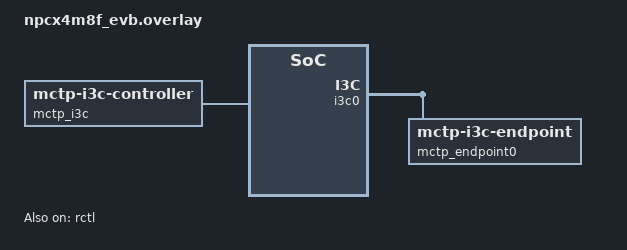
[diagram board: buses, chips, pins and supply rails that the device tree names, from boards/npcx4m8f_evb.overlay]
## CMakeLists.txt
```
# SPDX-FileCopyrightText: Copyright The Zephyr Project Contributors
# SPDX-License-Identifier: Apache-2.0
cmake_minimum_required(VERSION 3.20.0)

find_package(Zephyr REQUIRED HINTS $ENV{ZEPHYR_BASE})
project(spdm_requester_i3c)

target_sources(app PRIVATE
  src/main.c
  ${CMAKE_CURRENT_LIST_DIR}/../common/sample_ecp256.c
  ${CMAKE_CURRENT_LIST_DIR}/../common/sample_app_message.c
)
target_include_directories(app PRIVATE ${CMAKE_CURRENT_LIST_DIR}/../common)
```

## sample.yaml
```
# SPDX-FileCopyrightText: Copyright The Zephyr Project Contributors
# SPDX-License-Identifier: Apache-2.0
sample:
  description: libspdm SPDM requester over MCTP on I3C
  name: libspdm requester I3C
tests:
  sample.lib.libspdm.requester_i3c.build:
    build_only: true
    tags: libspdm i3c mctp
    platform_allow: npcx4m8f_evb
    integration_platforms:
      - npcx4m8f_evb
```

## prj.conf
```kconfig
# SPDX-FileCopyrightText: Copyright The Zephyr Project Contributors
# SPDX-License-Identifier: Apache-2.0

# libspdm: requester only, MCTP transport + libmctp bridge.
CONFIG_LIBSPDM=y
CONFIG_LIBSPDM_REQUESTER=y
CONFIG_LIBSPDM_RESPONDER=n
CONFIG_LIBSPDM_CRYPTO_MBEDTLS=y
CONFIG_LIBSPDM_TRANSPORT_MCTP=y
CONFIG_LIBSPDM_TRANSPORT_MCTP_LIBMCTP_BRIDGE=y
CONFIG_LIBSPDM_SECRET_LIB_SAMPLE=y
# Disable libspdm's internal hex-dump prints. The flow is now stable;
# every byte of every SPDM message logged over serial dominates the
# round-trip time on the I3C link (and overflows the log subsystem
# buffer). The application-level LOG_INF calls still trace each phase.
CONFIG_LIBSPDM_DEBUG_ENABLE=n

# Sized for GET_CERTIFICATE with a ~1.5 KiB ECDSA-P256 chain
# (libspdm caps at LIBSPDM_MAX_CERT_CHAIN_SIZE=0x800).
CONFIG_LIBSPDM_MCTP_BUFFER_SIZE=2048
CONFIG_LIBSPDM_MCTP_RX_QUEUE_DEPTH=1

# Zephyr libmctp + I3C controller binding.
CONFIG_I3C=y
CONFIG_MCTP=y
CONFIG_MCTP_I3C_CONTROLLER=y

# A full SPDM_CERTIFICATE response (cert chain plus spdm_cert_chain_t
# header) is ~1.4 KiB, so the default 1 KiB libmctp reassembly cap is
# too small for the inbound message. Size both message and heap to
# comfortably hold our worst-case 2 KiB transfer.
CONFIG_MCTP_MAX_MESSAGE_SIZE=2048
CONFIG_MCTP_HEAP_SIZE=6144

# RNG: npcx4 has no hardware DRBG; see responder prj.conf for details.
CONFIG_TEST_RANDOM_GENERATOR=y

# libspdm context + scratch + send/receive buffers + mbedtls transient
# mallocs (X.509 parse + ECDSA verify).
CONFIG_MAIN_STACK_SIZE=4096
CONFIG_HEAP_MEM_POOL_SIZE=8192
CONFIG_COMMON_LIBC_MALLOC=y
CONFIG_COMMON_LIBC_MALLOC_ARENA_SIZE=16384

# Logging
CONFIG_LOG=y
CONFIG_LOG_BUFFER_SIZE=4096
CONFIG_PRINTK=y
```

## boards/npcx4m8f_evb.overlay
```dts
/*
 * SPDX-FileCopyrightText: Copyright The Zephyr Project Contributors
 * SPDX-License-Identifier: Apache-2.0
 *
 * I3C controller-side overlay for the libspdm SPDM requester sample
 * on the Nuvoton NPCX4M8F EVB. Mirrors the wiring used by the
 * upstream samples/subsys/pmci/mctp/i3c_bus_host overlay for the same
 * board: I3C SDA on J18.20, SCL on J18.19. The MCTP endpoint matches
 * the spdm_responder_i3c sample's target PID 0x000020a/0x00000011 and
 * MCTP EID 11.
 */

&rctl {
	status = "okay";
};

&i3c0 {
	status = "okay";
	i3c-scl-hz = <7500000>;
	i3c-od-scl-hz = <1500000>;

	bcr = <0x67>;

	mctp_endpoint0: mctp_endpoint0@20a00000011 {
		compatible = "zephyr,mctp-i3c-endpoint";
		reg = <0x0000 0x020a 0x00000011>;
		status = "okay";
	};
};

&pcc {
	clock-frequency = <DT_FREQ_M(90)>;
	core-prescaler = <3>;
	apb1-prescaler = <6>;
	apb2-prescaler = <6>;
	apb3-prescaler = <6>;
	apb4-prescaler = <3>;
};

/ {
	mctp_i3c: mctp_i3c {
		compatible = "zephyr,mctp-i3c-controller";
		endpoints = <&mctp_endpoint0>;
		endpoint-ids = <11>;
	};
};
```

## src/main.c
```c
/*
 * SPDX-FileCopyrightText: Copyright The Zephyr Project Contributors
 * SPDX-License-Identifier: Apache-2.0
 *
 * SPDM requester sample over MCTP-on-I3C.
 *
 * This sample assumes a peer SPDM responder is reachable at MCTP EID
 * PEER_EID on the I3C bus described by the board overlay. It runs the
 * first three steps of the SPDM 1.2 handshake (GET_VERSION,
 * GET_CAPABILITIES, NEGOTIATE_ALGORITHMS) and prints a single PASSED /
 * FAIL line. Extending the demo to GET_DIGESTS / GET_CERTIFICATE /
 * CHALLENGE_AUTH / GET_MEASUREMENTS is a matter of switching to
 * CONFIG_LIBSPDM_CRYPTO_MBEDTLS=y and registering an embedded
 * certificate chain via libspdm_zephyr_secret_blob_register().
 *
 * Pair this sample with samples/spdm_responder_i3c flashed onto a
 * second board on the same I3C bus.
 */

#include <stdint.h>
#include <stdlib.h>
#include <string.h>

#include <zephyr/kernel.h>
#include <zephyr/logging/log.h>

#include <libmctp.h>
#include <zephyr/pmci/mctp/mctp_i3c_controller.h>

#include "library/spdm_common_lib.h"
#include "library/spdm_requester_lib.h"
#include "library/spdm_transport_mctp_lib.h"
#include "internal/libspdm_device_secret_lib.h"
#include "hal/library/memlib.h"
#include "industry_standard/spdm.h"

#include "libspdm/zephyr/spdm_mctp_io.h"
#include <libspdm/zephyr/secret_blob.h>

#include "sample_ecp256.h"

LOG_MODULE_REGISTER(spdm_requester_i3c, LOG_LEVEL_INF);

#define LOCAL_EID 20U
#define PEER_EID  11U

/*
 * libspdm computes DataTransferSize as
 *   bridge_buffer - LIBSPDM_MCTP_TRANSPORT_HEADER_SIZE - LIBSPDM_MCTP_TRANSPORT_TAIL_SIZE
 * Per SPDM 1.2+ section 10.3 ("Capabilities exchange"), when the
 * peer does not advertise CHUNK_CAP the request MUST satisfy
 * DataTransferSize == MaxSPDMmsgSize. We therefore pin
 * MaxSPDMmsgSize to the same value.
 */
#define LIBSPDM_MAX_SPDM_MSG_SIZE  (CONFIG_LIBSPDM_MCTP_BUFFER_SIZE - \
				    LIBSPDM_MCTP_TRANSPORT_HEADER_SIZE - \
				    LIBSPDM_MCTP_TRANSPORT_TAIL_SIZE)

MCTP_I3C_CONTROLLER_DT_DEFINE(mctp_i3c_ctrl, DT_NODELABEL(mctp_i3c));

static struct spdm_mctp_io spdm_io;
static uint8_t spdm_scratch[26496] __aligned(8);

static int configure_spdm(void *spdm_ctx)
{
	libspdm_data_parameter_t param;
	spdm_version_number_t version;
	uint8_t  u8;
	uint32_t u32;
	uint16_t u16;

	memset(&param, 0, sizeof(param));
	param.location = LIBSPDM_DATA_LOCATION_LOCAL;

	/*
	 * LIBSPDM_DATA_SPDM_VERSION expects an array of
	 * spdm_version_number_t (uint16_t), with the SPDM version byte
	 * placed in the high byte (SPDM_VERSION_NUMBER_SHIFT_BIT = 8).
	 */
	version = (spdm_version_number_t)SPDM_MESSAGE_VERSION_12
		  << SPDM_VERSION_NUMBER_SHIFT_BIT;
	if (libspdm_set_data(spdm_ctx, LIBSPDM_DATA_SPDM_VERSION, &param,
			     &version, sizeof(version)) != LIBSPDM_STATUS_SUCCESS) {
		return -1;
	}

	u32 = SPDM_GET_CAPABILITIES_REQUEST_FLAGS_CERT_CAP |
	      SPDM_GET_CAPABILITIES_REQUEST_FLAGS_CHAL_CAP;
	if (libspdm_set_data(spdm_ctx, LIBSPDM_DATA_CAPABILITY_FLAGS, &param,
			     &u32, sizeof(u32)) != LIBSPDM_STATUS_SUCCESS) {
		return -1;
	}

	/* Local capability hints used to derive request timeouts:
	 *   timeout = RTT + 2^CT_EXPONENT (microseconds, crypto path)
	 *           = RTT + ST1            (non-crypto path, default 100 ms)
	 * Both RTT and CT_EXPONENT default to 0, which yields a
	 * sub-microsecond wait that fires immediately on the I3C link
	 * once we reach a crypto-bearing exchange (e.g. GET_DIGESTS).
	 * Set conservative values:
	 *   RTT     = 100 ms (covers MCTP-over-I3C round trip plus IBI),
	 *   CT_EXP  = 22      (~4.2 s -- KEY_EXCHANGE on the responder
	 *                      runs ECDH keygen + ECDSA sign + transcript
	 *                      hashing entirely in software on Cortex-M4F
	 *                      and was observed to take ~1.35 s on a real
	 *                      npcx4m8f_evb pair).
	 */
	u8 = 22U;
	(void)libspdm_set_data(spdm_ctx, LIBSPDM_DATA_CAPABILITY_CT_EXPONENT,
			       &param, &u8, sizeof(u8));
	u32 = 100000U;
	(void)libspdm_set_data(spdm_ctx, LIBSPDM_DATA_CAPABILITY_RTT_US,
			       &param, &u32, sizeof(u32));

	u8 = SPDM_MEASUREMENT_SPECIFICATION_DMTF;
	(void)libspdm_set_data(spdm_ctx, LIBSPDM_DATA_MEASUREMENT_SPEC,
			       &param, &u8, sizeof(u8));

	u32 = SPDM_ALGORITHMS_BASE_ASYM_ALGO_TPM_ALG_ECDSA_ECC_NIST_P256;
	(void)libspdm_set_data(spdm_ctx, LIBSPDM_DATA_BASE_ASYM_ALGO, &param,
			       &u32, sizeof(u32));

	u32 = SPDM_ALGORITHMS_BASE_HASH_ALGO_TPM_ALG_SHA_256;
	(void)libspdm_set_data(spdm_ctx, LIBSPDM_DATA_BASE_HASH_ALGO, &param,
			       &u32, sizeof(u32));

	u16 = SPDM_ALGORITHMS_DHE_NAMED_GROUP_SECP_256_R1;
	(void)libspdm_set_data(spdm_ctx, LIBSPDM_DATA_DHE_NAME_GROUP, &param,
			       &u16, sizeof(u16));

	u16 = SPDM_ALGORITHMS_AEAD_CIPHER_SUITE_AES_256_GCM;
	(void)libspdm_set_data(spdm_ctx, LIBSPDM_DATA_AEAD_CIPHER_SUITE,
			       &param, &u16, sizeof(u16));

	u16 = SPDM_ALGORITHMS_BASE_ASYM_ALGO_TPM_ALG_ECDSA_ECC_NIST_P256;
	(void)libspdm_set_data(spdm_ctx, LIBSPDM_DATA_REQ_BASE_ASYM_ALG,
			       &param, &u16, sizeof(u16));

	u16 = SPDM_ALGORITHMS_KEY_SCHEDULE_SPDM;
	(void)libspdm_set_data(spdm_ctx, LIBSPDM_DATA_KEY_SCHEDULE, &param,
			       &u16, sizeof(u16));

	u8 = SPDM_ALGORITHMS_OPAQUE_DATA_FORMAT_1;
	(void)libspdm_set_data(spdm_ctx, LIBSPDM_DATA_OTHER_PARAMS_SUPPORT,
			       &param, &u8, sizeof(u8));

	return 0;
}

#ifdef CONFIG_LIBSPDM_CRYPTO_MBEDTLS
static int install_peer_root_cert(void *spdm_ctx)
{
	libspdm_data_parameter_t param;
	void *cert_chain = NULL;
	size_t cert_chain_size = 0;
	void *hash = NULL;
	size_t hash_size = 0;
	const uint8_t *root_cert;
	size_t root_cert_size;
	bool res;

	res = libspdm_read_responder_public_certificate_chain(
		SPDM_ALGORITHMS_BASE_HASH_ALGO_TPM_ALG_SHA_256,
		SPDM_ALGORITHMS_BASE_ASYM_ALGO_TPM_ALG_ECDSA_ECC_NIST_P256,
		&cert_chain, &cert_chain_size, &hash, &hash_size);
	if (!res || cert_chain == NULL) {
		LOG_ERR("cannot load responder cert chain to extract root");
		return -1;
	}

	res = libspdm_x509_get_cert_from_cert_chain(
		(uint8_t *)cert_chain + sizeof(spdm_cert_chain_t) + hash_size,
		cert_chain_size - sizeof(spdm_cert_chain_t) - hash_size,
		0, &root_cert, &root_cert_size);
	if (!res) {
		LOG_ERR("cert-chain root extract failed");
		free(cert_chain);
		return -1;
	}

	memset(&param, 0, sizeof(param));
	param.location = LIBSPDM_DATA_LOCATION_LOCAL;
	(void)libspdm_set_data(spdm_ctx, LIBSPDM_DATA_PEER_PUBLIC_ROOT_CERT,
			       &param, (void *)root_cert, root_cert_size);
	/* libspdm_set_data stores the pointer for PEER_PUBLIC_ROOT_CERT
	 * (no internal copy), and root_cert points inside cert_chain.
	 * Both must outlive spdm_ctx, so we intentionally leak the
	 * allocation -- it lives for the lifetime of the requester.
	 */
	return 0;
}
#endif

int main(void)
{
	struct mctp *mctp_ctx;
	void *spdm_ctx;
	size_t ctx_size;
	libspdm_return_t status;
	int rc;

	LOG_INF("SPDM requester (libspdm + libmctp + I3C) on %s",
		CONFIG_BOARD_TARGET);
	LOG_INF("local EID=%u, peer EID=%u", LOCAL_EID, PEER_EID);

	mctp_ctx = mctp_init();
	__ASSERT_NO_MSG(mctp_ctx != NULL);
	mctp_register_bus(mctp_ctx, &mctp_i3c_ctrl.binding, LOCAL_EID);

	rc = spdm_mctp_io_init(&spdm_io, mctp_ctx, LOCAL_EID, PEER_EID);
	if (rc != 0) {
		LOG_ERR("spdm_mctp_io_init failed: %d", rc);
		return rc;
	}

	ctx_size = libspdm_get_context_size();
	spdm_ctx = k_malloc(ctx_size);
	__ASSERT_NO_MSG(spdm_ctx != NULL);

	libspdm_init_context(spdm_ctx);

	rc = spdm_mctp_io_register(spdm_ctx, &spdm_io);
	if (rc != 0) {
		LOG_ERR("spdm_mctp_io_register failed: %d", rc);
		return rc;
	}

	libspdm_register_transport_layer_func(spdm_ctx,
		LIBSPDM_MAX_SPDM_MSG_SIZE,
		LIBSPDM_MCTP_TRANSPORT_HEADER_SIZE,
		LIBSPDM_MCTP_TRANSPORT_TAIL_SIZE,
		libspdm_transport_mctp_encode_message,
		libspdm_transport_mctp_decode_message);

	libspdm_set_scratch_buffer(spdm_ctx, spdm_scratch, sizeof(spdm_scratch));

	if (configure_spdm(spdm_ctx) != 0) {
		LOG_ERR("configure_spdm failed");
		return -1;
	}

#ifdef CONFIG_LIBSPDM_CRYPTO_MBEDTLS
	if (libspdm_zephyr_secret_blob_register(sample_ecp256_blobs) != 0) {
		LOG_ERR("secret blob registration failed");
		return -1;
	}
	if (install_peer_root_cert(spdm_ctx) != 0) {
		return -1;
	}
#endif

	LOG_INF("issuing GET_VERSION");
	status = libspdm_init_connection(spdm_ctx, true);
	if (status != LIBSPDM_STATUS_SUCCESS) {
		LOG_ERR("GET_VERSION failed: 0x%x", status);
		return -1;
	}
	LOG_INF("GET_VERSION ok");

	LOG_INF("issuing GET_CAPABILITIES + NEGOTIATE_ALGORITHMS");
	status = libspdm_init_connection(spdm_ctx, false);
	if (status != LIBSPDM_STATUS_SUCCESS) {
		LOG_ERR("CAPABILITIES/ALGORITHMS failed: 0x%x", status);
		return -1;
	}
	LOG_INF("GET_CAPABILITIES + NEGOTIATE_ALGORITHMS ok");

#ifdef CONFIG_LIBSPDM_CRYPTO_MBEDTLS
	{
		uint8_t slot_mask = 0;
		uint8_t total_digest[LIBSPDM_MAX_HASH_SIZE * SPDM_MAX_SLOT_COUNT];

		status = libspdm_get_digest(spdm_ctx, NULL, &slot_mask, total_digest);
		if (status != LIBSPDM_STATUS_SUCCESS) {
			LOG_ERR("GET_DIGESTS failed: 0x%x", status);
			return -1;
		}
		LOG_INF("GET_DIGESTS ok, slot_mask=0x%02x", slot_mask);
	}

	{
		static uint8_t cert_buf[0x800];
		size_t cert_chain_size = sizeof(cert_buf);

		status = libspdm_get_certificate(spdm_ctx, NULL, 0,
						 &cert_chain_size, cert_buf);
		if (status != LIBSPDM_STATUS_SUCCESS) {
			LOG_ERR("GET_CERTIFICATE failed: 0x%x", status);
			return -1;
		}
		LOG_INF("GET_CERTIFICATE ok, chain_size=%zu", cert_chain_size);
	}

	{
		uint8_t slot_mask = 0;

		status = libspdm_challenge(spdm_ctx, NULL, 0,
				SPDM_CHALLENGE_REQUEST_NO_MEASUREMENT_SUMMARY_HASH,
				NULL, &slot_mask);
		if (status != LIBSPDM_STATUS_SUCCESS) {
			LOG_ERR("CHALLENGE_AUTH failed: 0x%x", status);
			return -1;
		}
		LOG_INF("CHALLENGE_AUTH ok");
	}

	LOG_INF("*** SPDM authenticated handshake PASSED ***");
#else
	LOG_INF("*** SPDM handshake (version/caps/algs) PASSED ***");
#endif

	return 0;
}
```
